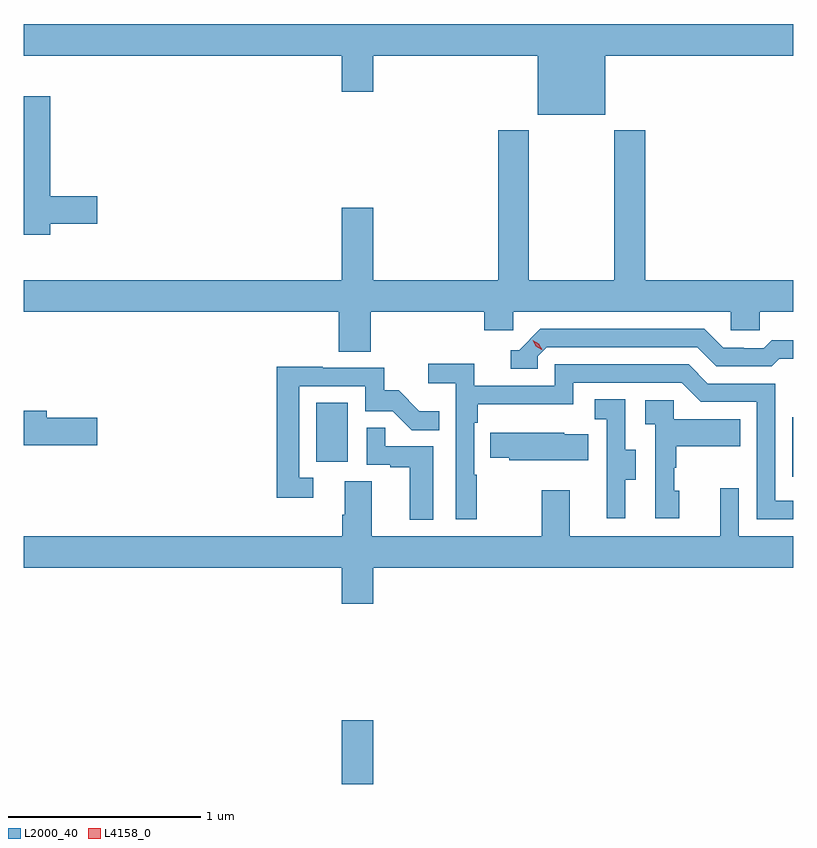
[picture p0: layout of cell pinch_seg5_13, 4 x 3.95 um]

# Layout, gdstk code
import gdstk
lib = gdstk.Library(unit=1e-6, precision=1e-09)
def R(c, l, rs):  # rectangles x0, y0, x1, y1
    for r in rs: c.add(gdstk.rectangle(r[:2], r[2:], *l))
def P(c, l, *ps):  # polygons
    for p in ps: c.add(gdstk.Polygon(p, *l))
L2000_40 = (2000, 40)
L4158_0 = (4158, 0)

pinch_seg5_13 = lib.new_cell('pinch_seg5_13')
R(pinch_seg5_13, L2000_40, [(1142.03,895.595,1142.194,895.927), (1144.374,897.192,1144.377,897.502), (1141.898,897.27,1142.062,897.577)])
P(pinch_seg5_13, L2000_40, [(1143.4,899.384),(1144.377,899.384),(1144.377,899.548),(1140.377,899.548),(1140.377,899.384),(1142.03,899.384),(1142.03,899.196),(1142.194,899.196),(1142.194,899.384),(1143.05,899.384),(1143.05,899.075),(1143.4,899.075)],
  [(1140.514,898.51),(1140.757,898.51),(1140.757,898.652),(1140.514,898.652),(1140.514,899.173),(1140.377,899.173),(1140.377,898.452),(1140.514,898.452)],
  [(1142.18,898.052),(1142.771,898.052),(1142.771,897.954),(1142.922,897.954),(1142.922,898.052),(1144.053,898.052),(1144.053,897.954),(1144.203,897.954),(1144.203,898.052),(1144.377,898.052),(1144.377,898.216),(1143.608,898.216),(1143.608,898.996),(1143.448,898.996),(1143.448,898.216),(1143.003,898.216),(1143.003,898.996),(1142.843,898.996),(1142.843,898.216),(1142.194,898.216),(1142.194,898.591),(1142.03,898.591),(1142.03,898.216),(1140.377,898.216),(1140.377,898.052),(1142.015,898.052),(1142.015,897.844),(1142.18,897.844)],
  [(1143.048,897.819),(1143.096,897.867),(1143.879,897.867),(1143.978,897.768),(1144.267,897.768),(1144.306,897.807),(1144.377,897.807),(1144.377,897.904),(1144.267,897.904),(1144.225,897.861),(1144.122,897.861),(1144.122,897.864),(1144.015,897.864),(1143.916,897.963),(1143.063,897.963),(1142.952,897.852),(1142.909,897.852),(1142.909,897.756),(1143.048,897.756)],
  [(1142.731,897.203),(1142.718,897.203),(1142.718,897.473),(1142.738,897.473),(1142.738,897.569),(1143.234,897.569),(1143.234,897.681),(1143.798,897.681),(1143.897,897.582),(1144.188,897.582),(1144.188,896.973),(1144.377,896.973),(1144.377,897.069),(1144.284,897.069),(1144.284,897.678),(1143.934,897.678),(1143.835,897.777),(1143.138,897.777),(1143.138,897.666),(1142.72,897.666),(1142.72,897.782),(1142.481,897.782),(1142.481,897.68),(1142.622,897.68),(1142.622,896.973),(1142.731,896.973)],
  [(1141.882,897.189),(1141.809,897.189),(1141.809,897.663),(1142.151,897.663),(1142.151,897.534),(1142.296,897.534),(1142.394,897.436),(1142.537,897.436),(1142.537,897.535),(1142.433,897.535),(1142.326,897.642),(1142.25,897.642),(1142.25,897.759),(1141.931,897.759),(1141.931,897.764),(1141.693,897.764),(1141.693,897.084),(1141.882,897.084)],
  [(1143.505,897.178),(1143.559,897.178),(1143.559,897.333),(1143.504,897.333),(1143.504,897.596),(1143.345,897.596),(1143.345,897.493),(1143.408,897.493),(1143.408,897.189),(1143.407,897.189),(1143.407,896.976),(1143.505,896.976)],
  [(1143.784,897.12),(1143.759,897.12),(1143.759,897.239),(1143.769,897.239),(1143.769,897.353),(1144.103,897.353),(1144.103,897.493),(1143.756,897.493),(1143.756,897.591),(1143.609,897.591),(1143.609,897.467),(1143.66,897.467),(1143.66,896.976),(1143.784,896.976)],
  [(1140.757,897.5),(1140.496,897.5),(1140.496,897.536),(1140.377,897.536),(1140.377,897.358),(1140.757,897.358)],
  [(1142.506,897.351),(1142.255,897.351),(1142.255,897.449),(1142.16,897.449),(1142.16,897.255),(1142.281,897.255),(1142.281,897.243),(1142.384,897.243),(1142.384,896.969),(1142.506,896.969)],
  [(1143.311,897.415),(1143.186,897.415),(1143.186,897.421),(1142.803,897.421),(1142.803,897.292),(1142.901,897.292),(1142.901,897.278),(1143.311,897.278)],
  [(1142.194,896.72),(1144.377,896.72),(1144.377,896.884),(1144.095,896.884),(1144.095,897.133),(1143.998,897.133),(1143.998,896.884),(1143.217,896.884),(1143.217,897.124),(1143.07,897.124),(1143.07,896.884),(1142.185,896.884),(1142.185,897.17),(1142.045,897.17),(1142.045,896.996),(1142.033,896.996),(1142.033,896.884),(1140.377,896.884),(1140.377,896.72),(1142.03,896.72),(1142.03,896.532),(1142.194,896.532)])
P(pinch_seg5_13, L4158_0, [(1143.071,897.853),(1143.04,897.872),(1143.024,897.904),(1143.024,897.904),(1143.024,897.904),(1143.055,897.885),(1143.072,897.853),(1143.072,897.853)])

lib.write_gds('pinch_seg5_13.gds')
